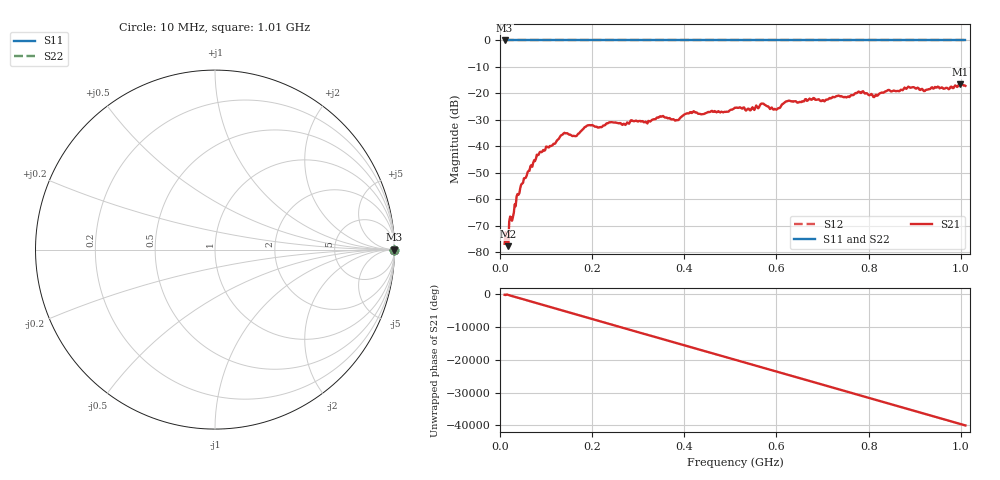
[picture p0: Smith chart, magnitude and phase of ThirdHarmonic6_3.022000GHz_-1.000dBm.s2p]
! 8/17/2025 8:42:04 AM
! C:\ANRITSUVNA\TEMP\TEMP.S2P
! CHANNEL.1
! TR.MEASUREMENT
! RAW.DATA
! RF.CORRECTION.OFF
! AVERAGING.OFF
! IF.BANDWIDTH: 5KHZ
! SWEEPTYPE:  FREQ.SWEEP(Linear)
! Reference Plane Port Info
! PORT:  PORT1  PORT2
! DISTANCE:  0  m  0  m
! TIME:  0  s  0  s
! PHASE.OFFSET:  0  deg.  0  deg.
! LOSS:  0  dB  0  dB
! REF.LOSS:  0  dB  0  dB
! REF.FREQ:  0  Hz  0  Hz
! Power Info
! POWER:  -20  dBm  -20  dBm
! EFF.POWER:  -20  dBm  -20  dBm
! SOURCE.ATTEN:  0  dB  0  dB
! TEST.ATTEN:  0  dB  0  dB
# GHZ S RI R 50.0
! FREQ.GHZ  S11RE  S11IM  S21RE  S21IM  S12RE  S12IM  S22RE  S22IM
!; PortSelection: Port_12
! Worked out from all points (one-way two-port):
!   501 points, 10 MHz to 1.01 GHz, reference 50 ohm
!   highest |S21| = -16.54 dB at 998 MHz (marker M1); lowest = -77.8 dB at 18 MHz (marker M2)
!   lowest |S11| = 0.0 dB at 10 MHz (marker M3)
!   |S11| at or under -10 dB: nowhere
!   |S22| runs from 0.0 to 0.0 dB; largest |S21 - S12| = 1.1
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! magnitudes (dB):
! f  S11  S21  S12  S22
! 10 MHz  0.0  -76.9  0.0  0.0
! 18 MHz  0.0  -77.8  0.0  0.0
! 24 MHz  0.0  -66.9  0.0  0.0
! 48 MHz  0.0  -54.1  0.0  0.0
! 84 MHz  0.0  -43.2  0.0  0.0
! 136 MHz  0.0  -35.6  0.0  0.0
! 162 MHz  0.0  -36.1  0.0  0.0
! 178 MHz  0.0  -33.8  0.0  0.0
! 192 MHz  0.0  -32.1  0.0  0.0
! 344 MHz  0.0  -29.2  0.0  0.0
! 384 MHz  0.0  -30.0  0.0  0.0
! 416 MHz  0.0  -27.4  0.0  0.0
! 510 MHz  0.0  -25.4  0.0  0.0
! 570 MHz  0.0  -23.9  0.0  0.0
! 598 MHz  0.0  -26.0  0.0  0.0
! 624 MHz  0.0  -23.0  0.0  0.0
! 678 MHz  0.0  -22.2  0.0  0.0
! 784 MHz  0.0  -19.8  0.0  0.0
! 814 MHz  0.0  -20.9  0.0  0.0
! 844 MHz  0.0  -18.7  0.0  0.0
! 998 MHz  0.0  -16.5  0.0  0.0
! 1.01 GHz  0.0  -17.2  0.0  0.0
